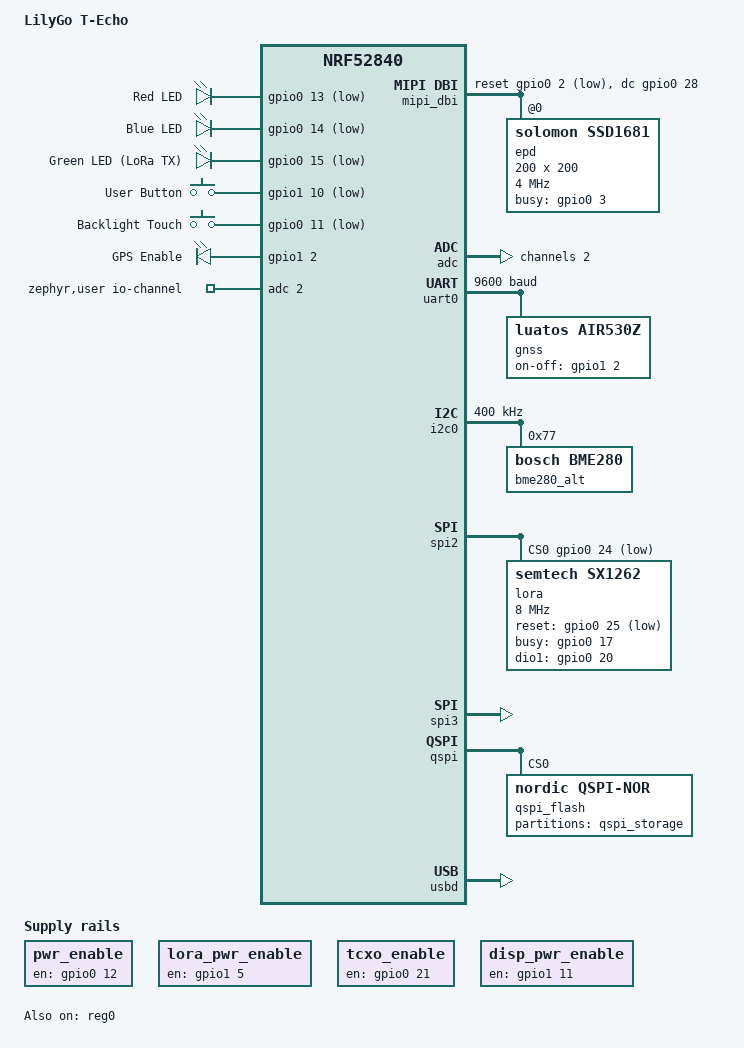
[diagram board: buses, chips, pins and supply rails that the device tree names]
/*
 * LilyGo T-Echo — nRF52840 + SX1262 + SSD1681 1.54" EPD + L76K GPS
 * Copyright (c) 2026 ZephCore
 *
 * SPDX-License-Identifier: Apache-2.0
 *
 * Hardware:
 * - nRF52840 SoC with BLE 5
 * - SX1262 LoRa radio (22 dBm, DIO2 as RF switch, external TCXO 1.8V)
 * - SSD1681 1.54" 200x200 mono e-paper display (SPI) with front-light (P1.11)
 * - MX25R1635F 2MB QSPI flash
 * - L76K GPS on UART0 (9600 baud, on/off via P1.02)
 * - BME280 environment sensor on I2C0 @ 0x77 (alt address)
 * - Battery ADC on AIN2 (P0.04), 150K+150K voltage divider
 * - Single user button (P1.10, active-low, INPUT_PULLUP)
 * - 3-color LEDs active-low: RED=P0.13, BLUE=P0.14, GREEN=P0.15
 *
 * Power rails (all must be HIGH for peripherals to function):
 * - Board power enable  P0.12  (main peripheral power)
 * - LoRa power enable   P1.05  (also gates GPS reset — shared signal)
 * - TCXO power enable   P0.21  (external 32 MHz TCXO for SX1262)
 *
 * Secondary "backlight" touch input (P0.11):
 * - Capacitive touch pad (TTP223-style) that presents an active-low
 *   momentary output. Its only job is to wake the e-paper front-light:
 *   emits INPUT_KEY_BRIGHTNESSUP, which hits ui_task's default branch —
 *   no page action, but the display-on / auto-off-reset path still runs,
 *   so the backlight lights up for CONFIG_ZEPHCORE_UI_DISPLAY_AUTO_OFF_MS.
 *
 * Note: Arduino ENV_INCLUDE_BME280 sits at 0x77; sensors-i2c.dtsi default
 * is 0x76 — we override below.
 */

/dts-v1/;
#include <nordic/nrf52840_qiaa.dtsi>
#include "lilygo_techo-pinctrl.dtsi"
#include <zephyr/dt-bindings/lora/sx126x.h>
#include <zephyr/dt-bindings/adc/nrf-saadc.h>
#include <zephyr/dt-bindings/input/input-event-codes.h>

/ {
	model = "LilyGo T-Echo";
	compatible = "lilygo,techo";

	chosen {
		zephyr,sram = &sram0;
		zephyr,flash = &flash0;
		zephyr,code-partition = &code_partition;
		zephyr,console = &cdc_acm_uart;
		zephyr,shell-uart = &cdc_acm_uart;
		zephyr,display = &epd;
	};

	aliases {
		lora0 = &lora;
		/* LEDs: green blinks on LoRa TX (matches Arduino P_LORA_TX_LED=LED_GREEN),
		 * blue acts as activity/heartbeat. Red stays available for errors. */
		led0 = &led_blue;
		led1 = &led_green;
		lora-tx-led = &led_green;
		sw0 = &user_button;
		watchdog0 = &wdt0;
		gps-enable = &gps_enable_pin;
	};

	/* ---- LEDs (active-LOW per Arduino variant.cpp: LED_STATE_ON=LOW) ---- */
	leds {
		compatible = "gpio-leds";

		led_red: led_0 {
			gpios = <&gpio0 13 GPIO_ACTIVE_LOW>;
			label = "Red LED";
		};

		led_blue: led_1 {
			gpios = <&gpio0 14 GPIO_ACTIVE_LOW>;
			label = "Blue LED";
		};

		led_green: led_2 {
			gpios = <&gpio0 15 GPIO_ACTIVE_LOW>;
			label = "Green LED (LoRa TX)";
		};
	};

	/* ---- Main user button (P1.10) ----
	 *
	 * Button interaction scheme (matches RAK4631's single-button mapping):
	 *   short press (release < 1s) → KEY_A  → feeds multi-tap filter:
	 *       1 tap  → KEY_1    = next page
	 *       2 taps → KEY_LEFT = previous page
	 *   long press (≥1s)         → KEY_ENTER = activate / confirm */
	buttons: buttons {
		compatible = "gpio-keys";

		user_button: button_0 {
			gpios = <&gpio1 10 (GPIO_PULL_UP | GPIO_ACTIVE_LOW)>;
			zephyr,code = <INPUT_KEY_0>;
			label = "User Button";
		};
	};

	/* short-press → KEY_A (multi-tap), long-press (≥1s) → KEY_ENTER */
	user_btn_longpress {
		compatible = "zephyr,input-longpress";
		input = <&buttons>;
		input-codes = <INPUT_KEY_0>;
		short-codes = <INPUT_KEY_A>;
		long-codes = <INPUT_KEY_ENTER>;
		long-delay-ms = <1000>;
	};

	page_btn_multitap {
		compatible = "zephcore,input-multi-tap";
		input-codes = <INPUT_KEY_A>;
		tap-codes = <INPUT_KEY_1 INPUT_KEY_LEFT>;
		tap-delay-ms = <400>;
	};

	/* ---- Backlight touch input (P0.11) ----
	 *
	 * Separate gpio-keys node (not under `buttons`) so this event does
	 * NOT feed the longpress/multitap filter chain above. Emits
	 * INPUT_KEY_BRIGHTNESSUP — ui_task.c treats unknown codes as
	 * display-wake only: a tap lights the front-light for
	 * CONFIG_ZEPHCORE_UI_DISPLAY_AUTO_OFF_MS, just like any other
	 * board's "tap to wake display". */
	backlight_btn: backlight-btn {
		compatible = "gpio-keys";

		backlight_button: button_0 {
			gpios = <&gpio0 11 (GPIO_PULL_UP | GPIO_ACTIVE_LOW)>;
			zephyr,code = <INPUT_KEY_BRIGHTNESSUP>;
			label = "Backlight Touch";
		};
	};

	/* ---- Power control ----
	 *
	 * Three rails must come up in order:
	 *   1. pwr_enable  (P0.12)  — board-wide peripheral power
	 *   2. lora_pwr_enable (P1.05) — SX1262 power (shared with GPS reset;
	 *      HIGH releases GPS from reset too — active-LOW GPS reset)
	 *   3. tcxo_enable (P0.21) — external TCXO for SX1262
	 *
	 * These are all regulator-fixed with regulator-boot-on so Zephyr's
	 * regulator framework brings them up before the SX1262 driver init. */

	pwr_enable: pwr-enable {
		compatible = "regulator-fixed";
		regulator-name = "pwr-enable";
		enable-gpios = <&gpio0 12 GPIO_ACTIVE_HIGH>;
		regulator-boot-on;
	};

	lora_pwr_enable: lora-pwr-enable {
		compatible = "regulator-fixed";
		regulator-name = "lora-pwr-enable";
		enable-gpios = <&gpio1 5 GPIO_ACTIVE_HIGH>;
		regulator-boot-on;
		startup-delay-us = <10000>;
	};

	tcxo_enable: tcxo-enable {
		compatible = "regulator-fixed";
		regulator-name = "tcxo-enable";
		enable-gpios = <&gpio0 21 GPIO_ACTIVE_HIGH>;
		regulator-boot-on;
	};

	/* E-paper front-light enable (P1.11). Boot-on so the display is lit
	 * out of the box; display.c can drive this off when entering auto-off. */
	disp_pwr_enable: disp-pwr-enable {
		compatible = "regulator-fixed";
		regulator-name = "disp-pwr-enable";
		enable-gpios = <&gpio1 11 GPIO_ACTIVE_HIGH>;
	};

	/* ---- GPS power control ---- */
	gps_en: gps-enable {
		compatible = "gpio-leds";
		gps_enable_pin: gps_enable {
			gpios = <&gpio1 2 GPIO_ACTIVE_HIGH>;
			label = "GPS Enable";
		};
	};

	/* ---- Battery ADC ----
	 * 150K+150K voltage divider (2:1) on AIN2 (P0.04). Full-scale 7.2V
	 * with ADC_REF_INTERNAL (0.6V) × gain 1/6 × divider 2.0. */
	zephyr,user {
		io-channels = <&adc 2>;
		vbat-mv-multiplier = <7200>;
	};

	/* ---- E-Paper display (MIPI DBI SPI) ----
	 * SSD1681 1.54" 200x200 monochrome EPD on SPI3. */
	mipi_dbi {
		compatible = "zephyr,mipi-dbi-spi";
		spi-dev = <&spi3>;
		dc-gpios = <&gpio0 28 GPIO_ACTIVE_HIGH>;
		reset-gpios = <&gpio0 2 GPIO_ACTIVE_LOW>;
		#address-cells = <1>;
		#size-cells = <0>;

		epd: ssd16xxfb@0 {
			compatible = "solomon,ssd1681";
			mipi-max-frequency = <4000000>;
			reg = <0>;
			width = <200>;
			height = <200>;
			rotation = <180>;
			busy-gpios = <&gpio0 3 GPIO_ACTIVE_HIGH>;

			/* Use internal temperature sensor for OTP waveform selection. */
			tssv = <0x80>;

			/* OTP waveforms — no explicit LUT needed for SSD1681.
			 * border-waveform controls the 1-px border during refresh:
			 *   full    0x05 = border follows source (clean full reset)
			 *   partial 0x80 = HiZ (GxEPD convention; prevents the
			 *                  1-px left/bottom edge residue that 0x3C
			 *                  leaves on this SSD1681 revision). */
			full    { border-waveform = <0x05>; };
			partial { border-waveform = <0x80>; };
		};
	};
};

/* ---- SoC configuration ---- */

&reg0 {
	status = "okay";
};

&reg1 {
	regulator-initial-mode = <NRF5X_REG_MODE_DCDC>;
};

&adc {
	status = "okay";
	#address-cells = <1>;
	#size-cells = <0>;

	/* Battery voltage on P0.04 (AIN2) */
	channel@2 {
		reg = <2>;
		zephyr,gain = "ADC_GAIN_1_6";
		zephyr,reference = "ADC_REF_INTERNAL";
		zephyr,acquisition-time = <ADC_ACQ_TIME(ADC_ACQ_TIME_MICROSECONDS, 10)>;
		zephyr,input-positive = <NRF_SAADC_AIN2>;
		zephyr,resolution = <12>;
	};
};

&uicr {
	nfct-pins-as-gpios;
};

&gpiote {
	status = "okay";
};

&gpio0 {
	status = "okay";
};

&gpio1 {
	status = "okay";
};

/* ---- GPS on UART0 (9600 baud) ----
 * L76K behaves like Air530Z (PCAS/NMEA). Driver manages power via
 * on-off-gpios (P1.02 = GPS_EN); no deferred-init needed at 9600 baud. */
&uart0 {
	compatible = "nordic,nrf-uarte";
	status = "okay";
	current-speed = <9600>;
	pinctrl-0 = <&uart0_default>;
	pinctrl-1 = <&uart0_sleep>;
	pinctrl-names = "default", "sleep";

	gnss: gnss {
		compatible = "luatos,air530z";
		on-off-gpios = <&gpio1 2 GPIO_ACTIVE_HIGH>;
	};
};

/* ---- I2C0 for environment sensors ---- */
&i2c0 {
	compatible = "nordic,nrf-twim";
	status = "okay";
	clock-frequency = <I2C_BITRATE_FAST>;
	pinctrl-0 = <&i2c0_default>;
	pinctrl-1 = <&i2c0_sleep>;
	pinctrl-names = "default", "sleep";

	/* Pull in the full sensor list — runtime auto-detect takes care of
	 * devices that aren't populated. T-Echo factory sensor is BME280 at
	 * the alt address 0x77, added separately below. */
	#include "../../common/sensors-i2c.dtsi"
};

/* T-Echo BME280 sits at I2C 0x77 (alt address), conflicting with the
 * BMP388 node from sensors-i2c.dtsi. Remove BMP388 and replace with
 * BME280 at 0x77 (same bosch,bme280 driver). */
/delete-node/ &bmp388;

&i2c0 {
	bme280_alt: bme280@77 {
		compatible = "bosch,bme280";
		reg = <0x77>;
	};
};

/* ---- SPI2 for LoRa SX1262 ---- */
&spi2 {
	compatible = "nordic,nrf-spim";
	status = "okay";
	pinctrl-0 = <&spi2_default>;
	pinctrl-1 = <&spi2_sleep>;
	pinctrl-names = "default", "sleep";
	cs-gpios = <&gpio0 24 GPIO_ACTIVE_LOW>;   /* P0.24 LORA_CS */

	lora: lora@0 {
		compatible = "semtech,sx1262";
		reg = <0>;
		spi-max-frequency = <8000000>;

		/* LoRa control pins */
		reset-gpios = <&gpio0 25 GPIO_ACTIVE_LOW>;    /* P0.25 */
		busy-gpios = <&gpio0 17 GPIO_ACTIVE_HIGH>;    /* P0.17 */
		dio1-gpios = <&gpio0 20 (GPIO_PULL_DOWN | GPIO_ACTIVE_HIGH)>; /* P0.20 */

		/* DIO2 drives RF switch for TX */
		dio2-tx-enable;

		/* External TCXO on DIO3 — 1.8V reference */
		dio3-tcxo-voltage = <SX126X_DIO3_TCXO_1V8>;
		tcxo-power-startup-delay-ms = <10>;

		/* RX boosted mode for better sensitivity (matches
		 * Arduino SX126X_RX_BOOSTED_GAIN=1). */
		rx-boosted;
	};
};

/* ---- SPI3 for E-Paper display ---- */
&spi3 {
	compatible = "nordic,nrf-spim";
	status = "okay";
	pinctrl-0 = <&spi3_default>;
	pinctrl-1 = <&spi3_sleep>;
	pinctrl-names = "default", "sleep";
	cs-gpios = <&gpio0 30 GPIO_ACTIVE_LOW>;   /* P0.30 DISP_CS */
};

/* ---- QSPI Flash — MX25R1635F 2MB ---- */
&qspi {
	status = "okay";
	pinctrl-0 = <&qspi_default>;
	pinctrl-1 = <&qspi_sleep>;
	pinctrl-names = "default", "sleep";

	qspi_flash: qspi_flash@0 {
		compatible = "nordic,qspi-nor";
		reg = <0>;
		writeoc = "pp";
		readoc = "fastread";
		sck-frequency = <16000000>;
		jedec-id = [c2 28 15];        /* MX25R1635F */
		size = <16777216>;            /* 2MB = 16Mbit */
		has-dpd;
		t-enter-dpd = <10000>;
		t-exit-dpd = <35000>;
	};
};

/* ---- USB CDC for console/CLI ---- */
zephyr_udc0: &usbd {
	compatible = "nordic,nrf-usbd";
	status = "okay";

	cdc_acm_uart: cdc_acm_uart {
		compatible = "zephyr,cdc-acm-uart";
	};
};

/* ---- Flash partitions (SoftDevice v6, app@0x26000) ---- */
#include "../../common/nrf52_partitions_sdv6.dtsi"

/* ---- External QSPI flash partitions ---- */
&qspi_flash {
	partitions {
		compatible = "fixed-partitions";
		#address-cells = <1>;
		#size-cells = <1>;

		/* Full 2MB for LittleFS storage */
		qspi_storage_partition: partition@0 {
			label = "qspi_storage";
			reg = <0x00000000 0x00200000>;
		};
	};
};

/* ---- External QSPI /ext automount ---- */
#include "../../common/qspi-ext.dtsi"
#include "../../common/nrf52_wakeup.dtsi"
